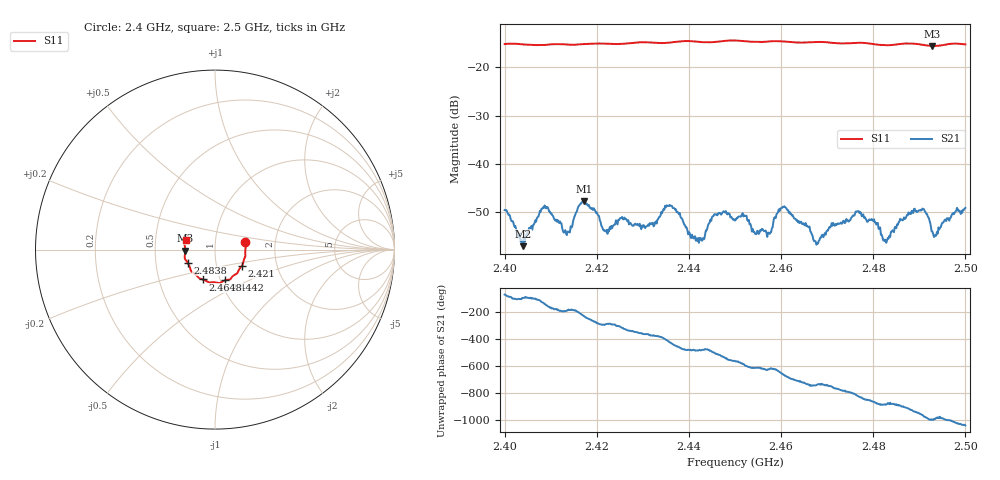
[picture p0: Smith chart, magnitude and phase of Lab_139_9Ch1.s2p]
# Hz S RI R 50
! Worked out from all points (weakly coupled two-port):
!   601 points, 2.4 GHz to 2.5 GHz, reference 50 ohm
!   highest |S21| = -47.68 dB at 2.4172 GHz (marker M1); lowest = -57.0 dB at 2.404 GHz (marker M2)
!   lowest |S11| = -15.6 dB at 2.4928 GHz (marker M3), VSWR 1.40, Z = 35.8 - j0.393 ohm
!   |S11| at or under -10 dB: start of sweep to end of sweep
!   S12 and S22 are empty: the file has one direction only
!   S11 on the Smith chart (normalised r, x): 2.4 GHz: 1.40, +0.12; 2.421 GHz: 1.33, -0.24; 2.4442 GHz: 1.05, -0.37; 2.4648 GHz: 0.83, -0.28; 2.4838 GHz: 0.73, -0.11; 2.5 GHz: 0.72, +0.08
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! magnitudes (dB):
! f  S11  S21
! 2.4 GHz  -15.2  -49.5
! 2.404 GHz  -15.3  -57.0
! 2.4088 GHz  -15.4  -48.8
! 2.4137 GHz  -15.3  -54.0
! 2.4167 GHz  -15.3  -48.0
! 2.4172 GHz  -15.2  -47.7
! 2.421 GHz  -15.1  -52.8
! 2.4333 GHz  -15.0  -51.4
! 2.4363 GHz  -14.9  -48.7
! 2.4423 GHz  -14.8  -55.3
! 2.4442 GHz  -14.9  -52.6
! 2.45 GHz  -14.5  -51.7
! 2.4573 GHz  -14.7  -54.2
! 2.4607 GHz  -14.7  -48.7
! 2.4648 GHz  -14.9  -52.3
! 2.4667 GHz  -14.8  -54.5
! 2.4767 GHz  -15.0  -49.8
! 2.4833 GHz  -15.5  -55.4
! 2.4838 GHz  -15.4  -54.0
! 2.4905 GHz  -15.4  -49.6
! 2.4928 GHz  -15.6  -54.0
! 2.5 GHz  -15.3  -49.1
